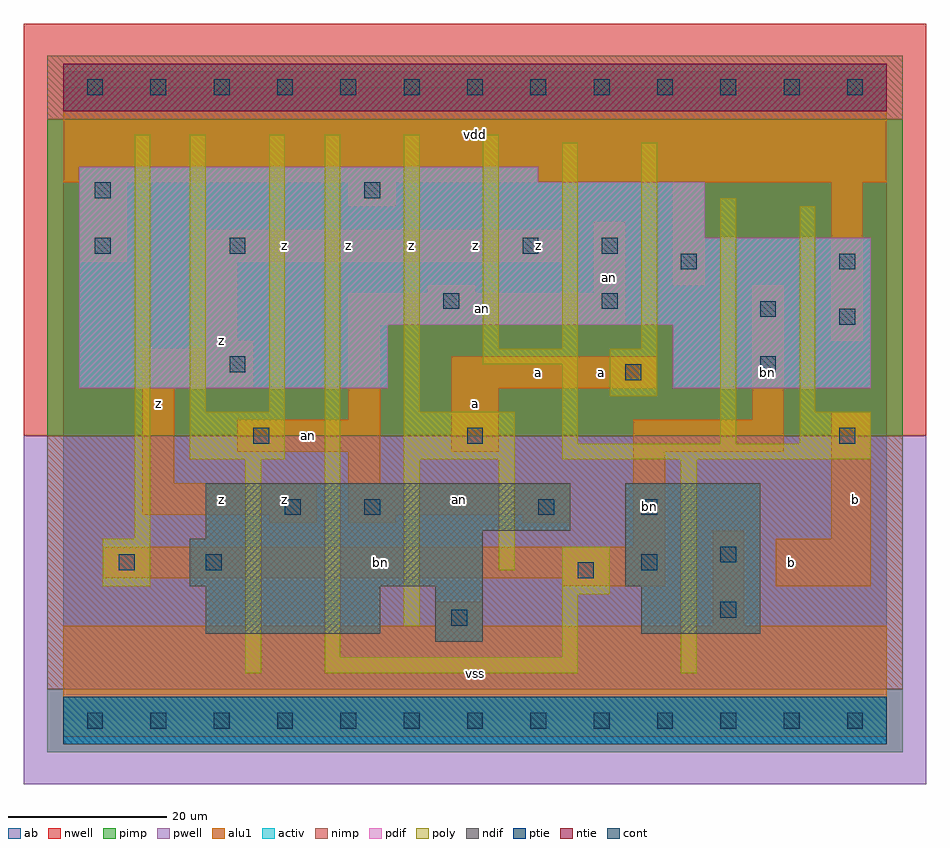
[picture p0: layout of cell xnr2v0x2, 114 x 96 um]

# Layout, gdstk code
import gdstk
lib = gdstk.Library(unit=1e-6, precision=1e-09)
def R(c, l, rs):  # rectangles x0, y0, x1, y1
    for r in rs: c.add(gdstk.rectangle(r[:2], r[2:], *l))
def A(c, l, x, y, w, h, nx, ny, dx, dy):  # array of equal rectangles
    R(c, l, [(x+i*dx, y+j*dy, x+i*dx+w, y+j*dy+h) for i in range(nx) for j in range(ny)])
ndif = (3, 0)
pdif = (4, 0)
ntie = (5, 0)
ptie = (6, 0)
cont = (25, 0)
pwell = (41, 0)
nwell = (42, 0)
activ = (43, 0)
pimp = (44, 0)
nimp = (45, 0)
poly = (46, 0)
alu1 = (49, 0)
ab = (63, 0)

xnr2v0x2 = lib.new_cell('xnr2v0x2')
R(xnr2v0x2, ndif, [(47,10,53,17), (18,11,40,17), (73,11,88,17), (16,17,53,23), (71,17,88,30), (18,23,53,24), (18,24,64,30)])
R(xnr2v0x2, pdif, [(2,42,41,50), (77,42,102,50), (2,50,102,61), (2,61,81,68), (2,68,60,70)])
R(xnr2v0x2, ntie, [(0,77,104,83)])
R(xnr2v0x2, ptie, [(0,-3,104,3)])
A(xnr2v0x2, cont, 3, -1, 2, 2, 13, 2, 8, 80)
R(xnr2v0x2, cont, [(49,12,51,14), (83,13,85,15), (65,18,67,20), (7,19,9,21), (18,19,20,21), (73,19,75,21), (83,20,85,22), (28,26,30,28), (38,26,40,28), (60,26,62,28), (73,26,75,28), (24,35,26,37), (51,35,53,37), (98,35,100,37), (71,43,73,45), (21,44,23,46), (88,44,90,46), (98,50,100,52), (88,51,90,53), (48,52,50,54), (68,52,70,54), (78,57,80,59), (98,57,100,59), (4,59,6,61), (21,59,23,61), (58,59,60,61), (68,59,70,61), (4,66,6,68), (38,66,40,68)])
R(xnr2v0x2, pwell, [(-5,-8,109,36)])
R(xnr2v0x2, nwell, [(-5,36,109,88)])
R(xnr2v0x2, activ, [(0,-3,104,3), (47,10,53,17), (18,11,40,17), (73,11,88,17), (16,17,53,23), (71,17,88,30), (18,23,53,24), (18,24,64,30), (2,42,41,50), (77,42,102,50), (2,50,102,61), (2,61,81,68), (2,68,60,70), (0,77,104,83)])
R(xnr2v0x2, pimp, [(-2,-4,106,4), (-2,36,106,76)])
R(xnr2v0x2, nimp, [(-2,4,106,36), (-2,76,106,84)])
R(xnr2v0x2, poly, [(23,6,25,33), (33,6,65,8), (78,6,80,33), (33,8,35,74), (63,8,65,16), (43,12,45,33), (63,16,69,22), (5,17,11,23), (55,19,57,33), (9,23,11,74), (16,33,28,39), (43,33,57,39), (63,33,102,35), (63,35,65,45), (83,35,85,66), (93,35,102,39), (16,39,18,74), (26,39,28,74), (43,39,45,74), (93,39,95,65), (69,41,75,47), (53,45,65,47), (53,47,55,74), (63,47,65,73), (73,47,75,73)])
R(xnr2v0x2, alu1, [(0,-2,104,12), (47,12,53,15), (82,12,86,24), (63,17,76,18), (90,17,102,23), (5,18,76,22), (72,22,76,34), (97,23,102,39), (26,25,32,26), (36,25,42,26), (58,25,64,26), (10,26,32,30), (36,26,64,30), (10,30,14,42), (36,30,40,34), (22,34,40,38), (49,34,55,42), (72,34,91,38), (36,38,40,50), (87,38,91,55), (10,42,24,47), (49,42,75,46), (18,47,24,48), (18,48,22,58), (97,48,101,68), (36,50,71,54), (46,54,52,55), (67,54,71,63), (77,55,81,68), (2,58,8,68), (18,58,63,62), (36,65,42,68), (0,68,104,82)])
R(xnr2v0x2, ab, [(0,0,104,80)])
xnr2v0x2.add(gdstk.Label('an', (31,36), layer=49, texttype=0))
xnr2v0x2.add(gdstk.Label('bn', (74,27), layer=49, texttype=0))
xnr2v0x2.add(gdstk.Label('bn', (40,20), layer=49, texttype=0))
xnr2v0x2.add(gdstk.Label('an', (50,28), layer=49, texttype=0))
xnr2v0x2.add(gdstk.Label('an', (53,52), layer=49, texttype=0))
xnr2v0x2.add(gdstk.Label('an', (69,56), layer=49, texttype=0))
xnr2v0x2.add(gdstk.Label('bn', (89,44), layer=49, texttype=0))
xnr2v0x2.add(gdstk.Label('z', (20,28), layer=49, texttype=0))
xnr2v0x2.add(gdstk.Label('z', (12,40), layer=49, texttype=0))
xnr2v0x2.add(gdstk.Label('z', (20,48), layer=49, texttype=0))
xnr2v0x2.add(gdstk.Label('z', (28,28), layer=49, texttype=0))
xnr2v0x2.add(gdstk.Label('z', (44,60), layer=49, texttype=0))
xnr2v0x2.add(gdstk.Label('z', (36,60), layer=49, texttype=0))
xnr2v0x2.add(gdstk.Label('z', (28,60), layer=49, texttype=0))
xnr2v0x2.add(gdstk.Label('vss', (52,6), layer=49, texttype=0))
xnr2v0x2.add(gdstk.Label('a', (68,44), layer=49, texttype=0))
xnr2v0x2.add(gdstk.Label('a', (60,44), layer=49, texttype=0))
xnr2v0x2.add(gdstk.Label('a', (52,40), layer=49, texttype=0))
xnr2v0x2.add(gdstk.Label('z', (60,60), layer=49, texttype=0))
xnr2v0x2.add(gdstk.Label('z', (52,60), layer=49, texttype=0))
xnr2v0x2.add(gdstk.Label('vdd', (52,74), layer=49, texttype=0))
xnr2v0x2.add(gdstk.Label('b', (92,20), layer=49, texttype=0))
xnr2v0x2.add(gdstk.Label('b', (100,28), layer=49, texttype=0))

lib.write_gds('xnr2v0x2.gds')
